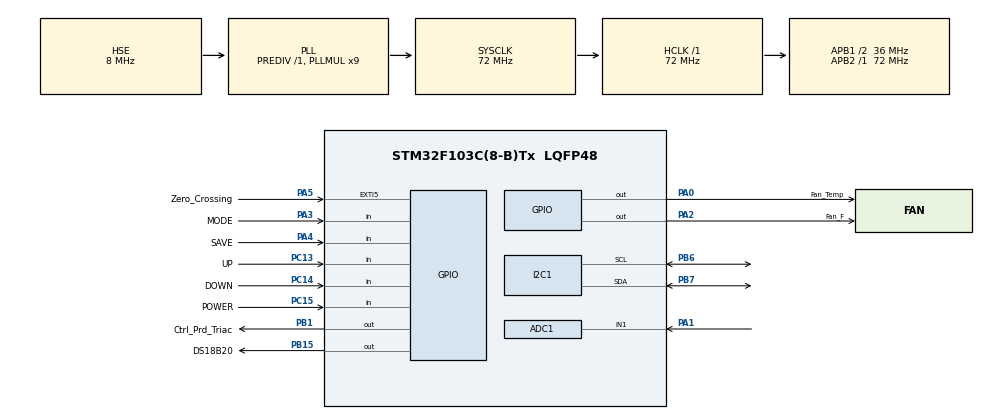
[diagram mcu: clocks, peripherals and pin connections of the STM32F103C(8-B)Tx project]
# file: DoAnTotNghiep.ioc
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ADC1.Channel-5\#ChannelRegularConversion=ADC_CHANNEL_1
ADC1.ContinuousConvMode=ENABLE
ADC1.NbrOfConversionFlag=1
ADC1.Rank-5\#ChannelRegularConversion=1
ADC1.SamplingTime-5\#ChannelRegularConversion=ADC_SAMPLETIME_239CYCLES_5
ADC1.master=1
Mcu.Family=STM32F1
Mcu.Name=STM32F103C(8-B)Tx
Mcu.Package=LQFP48
NVIC.EXTI9_5_IRQn=true\:5\:0\:true\:false\:true\:true\:true
NVIC.PriorityGroup=NVIC_PRIORITYGROUP_4
NVIC.TIM4_IRQn=true\:3\:0\:true\:false\:true\:true\:true
PA0-WKUP.GPIO_Label=Fan_Temp
PA0-WKUP.Signal=GPIO_Output
PA1.Signal=ADCx_IN1
PA13.Mode=Serial_Wire
PA13.Signal=SYS_JTMS-SWDIO
PA14.Mode=Serial_Wire
PA14.Signal=SYS_JTCK-SWCLK
PA2.GPIO_Label=Fan_F
PA2.Signal=GPIO_Output
PA3.GPIO_Label=MODE
PA3.GPIO_PuPd=GPIO_PULLUP
PA3.Signal=GPIO_Input
PA4.GPIO_Label=SAVE
PA4.GPIO_Mode=GPIO_MODE_INPUT
PA4.GPIO_PuPd=GPIO_PULLUP
PA4.Signal=GPIO_Input
PA5.GPIO_Label=Zero_Crossing
PA5.GPIO_ModeDefaultEXTI=GPIO_MODE_IT_FALLING
PA5.GPIO_PuPd=GPIO_PULLUP
PA5.Signal=GPXTI5
PB1.GPIO_Label=Ctrl_Prd_Triac
PB1.Signal=GPIO_Output
PB15.GPIO_Label=DS18B20
PB15.Signal=GPIO_Output
PB6.Mode=I2C
PB6.Signal=I2C1_SCL
PB7.Mode=I2C
PB7.Signal=I2C1_SDA
PC13-TAMPER-RTC.GPIO_Label=UP
PC13-TAMPER-RTC.GPIO_PuPd=GPIO_PULLUP
PC13-TAMPER-RTC.Signal=GPIO_Input
PC14-OSC32_IN.GPIO_Label=DOWN
PC14-OSC32_IN.GPIO_PuPd=GPIO_PULLUP
PC14-OSC32_IN.Signal=GPIO_Input
PC15-OSC32_OUT.GPIO_Label=POWER
PC15-OSC32_OUT.GPIO_Mode=GPIO_MODE_INPUT
PC15-OSC32_OUT.GPIO_PuPd=GPIO_PULLUP
PC15-OSC32_OUT.Signal=GPIO_Input
PD0-OSC_IN.Mode=HSE-External-Oscillator
PD0-OSC_IN.Signal=RCC_OSC_IN
PD1-OSC_OUT.Mode=HSE-External-Oscillator
PD1-OSC_OUT.Signal=RCC_OSC_OUT
ProjectManager.HeapSize=0x200
ProjectManager.StackSize=0x400
ProjectManager.TargetToolchain=MDK-ARM V5.27
RCC.ADCPresc=RCC_ADCPCLK2_DIV6
RCC.AHBFreq_Value=72000000
RCC.APB1CLKDivider=RCC_HCLK_DIV2
RCC.APB1Freq_Value=36000000
RCC.APB1TimFreq_Value=72000000
RCC.APB2Freq_Value=72000000
RCC.APB2TimFreq_Value=72000000
RCC.HCLKFreq_Value=72000000
RCC.PLLMUL=RCC_PLL_MUL9
RCC.PLLSourceVirtual=RCC_PLLSOURCE_HSE
RCC.SYSCLKFreq_VALUE=72000000
RCC.SYSCLKSource=RCC_SYSCLKSOURCE_PLLCLK
RCC.USBFreq_Value=72000000
SH.ADCx_IN1.0=ADC1_IN1,IN1
TIM3.Period=0xFFFF-1
TIM3.Prescaler=72-1
TIM4.Period=99
TIM4.Prescaler=36
VP_TIM3_VS_ClockSourceINT.Mode=Internal
VP_TIM4_VS_ClockSourceINT.Mode=Internal
board=custom

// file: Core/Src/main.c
/* USER CODE BEGIN Header */
/**
  ******************************************************************************
	*
  * @AUTHOR       :		Nguyen Trong Son
	* @CLASS        : 	69DCCN21
	* @ID           :   69DCCO20164
	* @University   :   University Of Transport Technology
	* @Title        :   Do An Tot Nghiep
	* @Topic        :   May say nong san on dinh nhiet do
	*
	* @File         :   main.c
  ******************************************************************************
  */
/* USER CODE END Header */
#include "main.h"

/* USER CODE BEGIN Includes */

#include "define.h"
#include "delay_timer.h"

/* USER CODE END Includes */

ADC_HandleTypeDef hadc1;

I2C_HandleTypeDef hi2c1;

TIM_HandleTypeDef htim3;
TIM_HandleTypeDef htim4;

void SystemClock_Config(void);
static void MX_GPIO_Init(void);
static void MX_TIM3_Init(void);
static void MX_I2C1_Init(void);
static void MX_ADC1_Init(void);
static void MX_TIM4_Init(void);

/* USER CODE BEGIN 0 */

static void Wellcome(void)
{
	CLCD_I2C_SetCursor(&LCD1,0,0);
	CLCD_I2C_WriteString(&LCD1, "DO AN TOT NGHIEP");
	HAL_Delay(1000);
	CLCD_I2C_Clear(&LCD1);
	CLCD_I2C_SetCursor(&LCD1,0,0);
	CLCD_I2C_WriteString(&LCD1, "LOADDING...");
	HAL_Delay(1000);
	CLCD_I2C_Clear(&LCD1);
}

// Hien thi thong so khi da cai xong kp ki kd
static void Display_Save_Parmeter(void)
{
	CLCD_I2C_SetCursor(&LCD1, 0, 0);
	CLCD_I2C_WriteString(&LCD1, "COPYRIGHT BY SON");
	CLCD_I2C_SetCursor(&LCD1, 0, 1);
	CLCD_I2C_WriteString(&LCD1, "NHAN NEXT =>...");
}

// Cai dat thong so Kp
static void Set_Kp(PID_CONTROL *PID1)
{
	if(HAL_GPIO_ReadPin(UP_GPIO_Port, UP_Pin) == 0)
	{
			cnt1++;
			if(cnt1 >= 10)
			{
				if(PID1->Kp < KP_MAX)
				{
					PID1->Kp += KP_UP;
				}
				else
				{
					PID1->Kp = KP_MAX;
				}
				cnt1 = 0;
			}
	}

	if(HAL_GPIO_ReadPin(DOWN_GPIO_Port, DOWN_Pin) == 0)
	{
			cnt1++;
			if(cnt1 >= 10)
			{
				if(PID1->Kp > KP_MIN)
				{
					PID1->Kp -= KP_DOWN;
				}
				else
				{
					PID1->Kp = KP_MIN;
				}
				cnt1 =0;
			}
	}
	Save_Data_Kp(ADDRESS_Kp, PID1->Kp);
}

// Cai Dat Thong So Ki
static  void Set_Ki(PID_CONTROL *PID1)
{
	if(HAL_GPIO_ReadPin(UP_GPIO_Port, UP_Pin) == 0)
	{
			cnt2++;
			if(cnt2>=10)
			{
				if(PID1->Ki < KI_MAX)
				{
					PID1->Ki += KI_UP;
				}
				else
				{
					PID1->Ki = KI_MAX;
				}
				cnt2 = 0;
			}
	}

	if(HAL_GPIO_ReadPin(DOWN_GPIO_Port, DOWN_Pin) == 0)
	{
			cnt2++;
			if(cnt2>=10)
			{
				if(PID1->Ki > KI_MIN)
				{
					PID1->Ki -= KI_DOWN;
				}
				else
				{
					PID1->Ki = KI_MIN;
				}
				cnt2 =0;
			}
	}
	Save_Data_Ki(ADDRESS_Ki, PID1->Ki);
}

// Cai Dat Thong So Kd
static  void Set_Kd(PID_CONTROL *PID1)
{
	if(HAL_GPIO_ReadPin(UP_GPIO_Port, UP_Pin) == 0)
	{
			cnt3++;
			if(cnt3 >= 10)
			{
				if(PID1->Kd < KD_MAX)
				{
					PID1->Kd += KD_UP;
				}
				else
				{
					PID1->Kd = KD_MAX;
				}
				cnt3 = 0;
			}
	}

	if(HAL_GPIO_ReadPin(DOWN_GPIO_Port, DOWN_Pin) == 0)
	{
			cnt3++;
			if(cnt3>=10)
			{
				if(PID1->Kd > KD_MIN)
				{
					PID1->Kd -= KD_DOWN;
				}
				else
				{
					PID1->Kd = KD_MIN;
				}
				cnt3 = 0;
			}
	}
	Save_Data_Kd(ADDRESS_Kd, PID1->Kd);
}

// Cai Dat nhiet do
static void ButtonSetTemperature(uint8_t *set_temp)
{
	// Tang Nhiet Do
	if(HAL_GPIO_ReadPin(UP_GPIO_Port, UP_Pin) == 0)
	{
			cnt4++;
			if(cnt4 >= 5)
			{
				if(*set_temp < TEMP_SET_MAX)
				{
					*set_temp += TEMP_UP;
				}
				else
				{
					*set_temp = TEMP_SET_MAX;
				}
				cnt4 = 0;
		  }
	}

	// Giam Nhiet Do
	if(HAL_GPIO_ReadPin(DOWN_GPIO_Port, DOWN_Pin) == 0)
	{
			cnt4++;
			if(cnt4 >= 5)
			{
				if(*set_temp > TEMP_SET_MIN)
				{
					*set_temp -= TEMP_DOWN;
				}
				else
				{
					*set_temp = TEMP_SET_MIN;
				}
				cnt4 = 0;
		  }
	}
	save_data_temp(Address,*set_temp);
}

// Luu nhiet do cai dat vao eeproom
int16_t save_data_temp(uint32_t add, int value)
{
	// Kiem tra cac bien, dia chi cua bien
	if((last_save_value != value)|| (last_add != add))
	{
			Flash_Erase(add);
			Flash_Write_Int(add, value);
			last_save_value = value;
			last_add = add;

			if(Flash_Read_Int(add) == value)
				return 1;
			else
				return 0;
	}
	return 0;
}

// Luu gia tri KP
static float Save_Data_Kp(uint32_t add_kp, float Kp)
{
	if((last_save_Kp != Kp) || (last_add_Kp != add_kp))
	{
		Flash_Erase(add_kp);
		Flash_Write_Float(add_kp, Kp);
		last_save_Kp = Kp;
		last_add_Kp = add_kp;

		if(Flash_Read_Float(add_kp) == Kp)
		{
			return 1;
		}
		else
		{
			return 0;
		}
	}
		return 0;
}

// Luu gia tri Ki
static float Save_Data_Ki(uint32_t add_ki, float Ki)
{
	if((last_save_Ki != Ki) || (last_add_Ki != add_ki))
	{
		Flash_Erase(add_ki);
		Flash_Write_Float(add_ki, Ki);
		last_save_Ki = Ki;
		last_add_Ki = add_ki;

		if(Flash_Read_Float(add_ki) == Ki)
		{
			return 1;
		}
		else
		{
			return 0;
		}
	}
	return 0;
}

// Luu Gia tri Kd
static float Save_Data_Kd(uint32_t add_kd, float Kd)
{
	if((last_save_Kd != Kd) || (last_add_Kd != add_kd))
	{
		Flash_Erase(add_kd);
		Flash_Write_Float(add_kd, Kd);
		last_save_Kd = Kd;
		last_add_Kd = add_kd;

		if(Flash_Read_Float(add_kd) == Kd)
		{
			return 1;
		}
		else
		{
			return 0;
		}
		return 0;
	}
}

// Hien thi thong so Kp
static void Display_Parameter_KP(PID_CONTROL *PID1)
{
		sprintf(data_Kp, "%.2f", PID1->Kp);
		CLCD_I2C_SetCursor(&LCD1, 0,0);
		CLCD_I2C_WriteString(&LCD1, "Cai Dat Kp");
		CLCD_I2C_SetCursor(&LCD1, 0, 1);
		CLCD_I2C_WriteString(&LCD1, data_Kp);
}

// Hien thi thong so Ki
static void Display_Parameter_Ki(PID_CONTROL *PID1)
{
		sprintf(data_Ki, "%.5f", PID1->Ki);
		CLCD_I2C_SetCursor(&LCD1, 0, 0);
		CLCD_I2C_WriteString(&LCD1, "Cai Dat Ki");
		CLCD_I2C_SetCursor(&LCD1, 0, 1);
	  CLCD_I2C_WriteString(&LCD1, data_Ki);
		CLCD_I2C_SetCursor(&LCD1, 7, 1);
		CLCD_I2C_WriteChar(&LCD1, ' ');
}

// Hien thi thong Kd
static void Display_Parameter_Kd(PID_CONTROL *PID1)
{
		sprintf(data_Kd, "%.4f", PID1->Kd);
		CLCD_I2C_SetCursor(&LCD1, 0, 0);
		CLCD_I2C_WriteString(&LCD1, "Cai Dat Kd");
		CLCD_I2C_SetCursor(&LCD1, 0, 1);
		CLCD_I2C_WriteString(&LCD1, data_Kd);
}

// Hien thi nhiet do cai dat
static void Display_SetUp_Temp(uint8_t *temp)
{
		if(*temp<=99)
		{
			sprintf(data_temp, "%d", *temp);
			CLCD_I2C_SetCursor(&LCD1, 0,0);
			CLCD_I2C_WriteString(&LCD1, "Cai Dat Nhiet Do");
			CLCD_I2C_SetCursor(&LCD1, 0,1);
			CLCD_I2C_WriteString(&LCD1, data_temp);
			CLCD_I2C_SetCursor(&LCD1, 2,0);
			CLCD_I2C_WriteChar(&LCD1, 0xDF);
			CLCD_I2C_SetCursor(&LCD1, 3,0);
			CLCD_I2C_WriteChar(&LCD1, 'C');
			CLCD_I2C_SetCursor(&LCD1, 4,0);
			CLCD_I2C_WriteChar(&LCD1, ' ');
		}

		// Hien thi nhiet do lon hon 100
		if(*temp>=100)
		{
			sprintf(data_temp, "%d", *temp);
			CLCD_I2C_SetCursor(&LCD1, 0,0);
			CLCD_I2C_WriteString(&LCD1, "Cai Dat Nhiet Do");
			CLCD_I2C_SetCursor(&LCD1, 0,0);
			CLCD_I2C_WriteString(&LCD1, data_temp);
			CLCD_I2C_SetCursor(&LCD1, 3,0);
			CLCD_I2C_WriteChar(&LCD1, 0xDF);
			CLCD_I2C_SetCursor(&LCD1, 4,0);
			CLCD_I2C_WriteChar(&LCD1, 'C');
		}

}

// Hien thi nhiet do
static void Display_LCD_Temp(float *temp)
{
		if(*temp<=99)
		{
			sprintf(data_temp, "%0.0f", *temp);
			CLCD_I2C_SetCursor(&LCD1, 0,0);
			CLCD_I2C_WriteString(&LCD1, "T:");
			CLCD_I2C_SetCursor(&LCD1, 2,0);
			CLCD_I2C_WriteString(&LCD1, data_temp);
			CLCD_I2C_SetCursor(&LCD1, 4,0);
			CLCD_I2C_WriteChar(&LCD1, 0xDF);
			CLCD_I2C_SetCursor(&LCD1, 5,0);
			CLCD_I2C_WriteChar(&LCD1, 'C');
			CLCD_I2C_SetCursor(&LCD1, 6,0);
			CLCD_I2C_WriteChar(&LCD1, ' ');
		}

		// Hien thi nhiet do lon hon 100
		if(*temp>=100)
		{
			sprintf(data_temp, "%0.0f", *temp);
			CLCD_I2C_SetCursor(&LCD1, 0,0);
			CLCD_I2C_WriteString(&LCD1, "T:");
			CLCD_I2C_SetCursor(&LCD1, 2,0);
			CLCD_I2C_WriteString(&LCD1, data_temp);
			CLCD_I2C_SetCursor(&LCD1, 5,0);
			CLCD_I2C_WriteChar(&LCD1, 0xDF);
			CLCD_I2C_SetCursor(&LCD1, 6,0);
			CLCD_I2C_WriteChar(&LCD1, 'C');
		}

}

// Hien thi nhiet do
static void Display_LCD_Set_Temp(uint8_t *set_temp)
{
		// Hien thi nhiet do cai dat be hon 100
		if(*set_temp <= 99)
		{
			sprintf(data_temp_set, "%d", *set_temp);
			CLCD_I2C_SetCursor(&LCD1, 0,1);
			CLCD_I2C_WriteString(&LCD1,  "ST:");
			CLCD_I2C_SetCursor(&LCD1, 3,1);
			CLCD_I2C_WriteString(&LCD1, data_temp_set);
			CLCD_I2C_SetCursor(&LCD1, 5,1);
			CLCD_I2C_WriteChar(&LCD1, 0xDF);
			CLCD_I2C_SetCursor(&LCD1, 6,1);
			CLCD_I2C_WriteChar(&LCD1, 'C');
			CLCD_I2C_SetCursor(&LCD1, 7,1);
			CLCD_I2C_WriteChar(&LCD1, ' ');
		}

		// Hien thi nhiet do lon hon 100
		if(*set_temp>=100)
		{
			sprintf(data_temp_set, "%d", *set_temp);
			CLCD_I2C_SetCursor(&LCD1, 0,1);
			CLCD_I2C_WriteString(&LCD1, "ST:");
			CLCD_I2C_WriteChar(&LCD1, ' ');
			CLCD_I2C_SetCursor(&LCD1, 3,1);
			CLCD_I2C_WriteString(&LCD1, data_temp_set);
			CLCD_I2C_SetCursor(&LCD1, 6,1);
			CLCD_I2C_WriteChar(&LCD1, 0xDF);
			CLCD_I2C_SetCursor(&LCD1, 7,1);
			CLCD_I2C_WriteChar(&LCD1, 'C');
		}
}

static void Display_Run(PID_CONTROL *PID1)
{
	  if((uint16_t)PID1->OutPut >= 1000)
		{
			sprintf(data_pid_out, "%d", (uint16_t)PID1->OutPut);
			CLCD_I2C_SetCursor(&LCD1,8, 0);
			CLCD_I2C_WriteString(&LCD1, "PID:");
			CLCD_I2C_SetCursor(&LCD1,12, 0);
			CLCD_I2C_WriteString(&LCD1, data_pid_out);
		}

		if((uint16_t)PID1->OutPut <= 999)
		{
			sprintf(data_pid_out, "%d", (uint16_t)PID1->OutPut);
			CLCD_I2C_SetCursor(&LCD1,8, 0);
			CLCD_I2C_WriteString(&LCD1, "PID:");
			CLCD_I2C_SetCursor(&LCD1,12, 0);
			CLCD_I2C_WriteString(&LCD1, data_pid_out);
			CLCD_I2C_SetCursor(&LCD1,15, 0);
			CLCD_I2C_WriteChar(&LCD1, ' ');
		}

		if((uint16_t)PID1->OutPut <= 99)
		{
			sprintf(data_pid_out, "%d", (uint16_t)PID1->OutPut);
			CLCD_I2C_SetCursor(&LCD1,8, 0);
			CLCD_I2C_WriteString(&LCD1, "PID:");
			CLCD_I2C_SetCursor(&LCD1,12, 0);
			CLCD_I2C_WriteString(&LCD1, data_pid_out);
			CLCD_I2C_SetCursor(&LCD1,14, 0);
			CLCD_I2C_WriteChar(&LCD1, ' ');
			CLCD_I2C_SetCursor(&LCD1,15, 0);
			CLCD_I2C_WriteChar(&LCD1, ' ');
		}

		if((uint16_t)PID1->OutPut <= 9)
		{
			sprintf(data_pid_out, "%d", (uint16_t)PID1->OutPut);
			CLCD_I2C_SetCursor(&LCD1,8, 0);
			CLCD_I2C_WriteString(&LCD1, "PID:");
			CLCD_I2C_SetCursor(&LCD1,12, 0);
			CLCD_I2C_WriteString(&LCD1, data_pid_out);
			CLCD_I2C_SetCursor(&LCD1,13, 0);
			CLCD_I2C_WriteChar(&LCD1, ' ');
			CLCD_I2C_SetCursor(&LCD1,14, 0);
			CLCD_I2C_WriteChar(&LCD1, ' ');
			CLCD_I2C_SetCursor(&LCD1,15, 0);
			CLCD_I2C_WriteChar(&LCD1, ' ');
		}
	  sprintf(data_duty, "%.2f", VAC_OUT_MAX * (PID1->OutPut / 165));
	  CLCD_I2C_SetCursor(&LCD1, 8,1);
		CLCD_I2C_WriteString(&LCD1, "V:");
		CLCD_I2C_SetCursor(&LCD1, 10,1);
		CLCD_I2C_WriteString(&LCD1, data_duty);
}

// Kiem tra ket qua bo PID voi chu ky 1000ms
static void PID_Reload_Result(PID_CONTROL *PID1, uint8_t *set_temp, float *temp_sensor)
{
				currentMillis = HAL_GetTick();

				if(currentMillis - previousMillis >= INV_SAMPLING_TIME_PID)
				{
						previousMillis += INV_SAMPLING_TIME_PID;

					 *temp_sensor = DS18B20_ReadTemp(&DS1);

						PID1->Err_now = (float)(*set_temp - *temp_sensor);

						if(PID1->Err_now > 20)
						{
								PID1->iPart = 0;
						}

						PID1->pPart = PID1->Kp * PID1->Err_now;

						PID1->iPart += PID1->Ki * PID1->Err_now;

						if(PID1->iPart > PI_OUTPUT_MAX)
						{
							PID1->iPart = PI_OUTPUT_MAX;
						}

						if(PID1->iPart < PI_OUTPUT_MIN)
						{
							PID1->iPart = PI_OUTPUT_MIN;
						}

						timePrev = time;
						time = HAL_GetTick();
						elapsedTime = (time - timePrev) / 1000;

						PID1->dPart = PID1->Kd * ((PID1->Err_now - PID1->Err_last) / elapsedTime);

		//				PID1->dPart = PID1->Kd * ((float)(PID1->Err_now - PID1->Err_last) / SAMPLING_TIME);

						PID1->OutPut = PID1->pPart + PID1->iPart + PID1->dPart;

						if(PID1->OutPut > PID_OUTPUT_MAX)
						{
							PID1->OutPut = PID_OUTPUT_MAX;
						}

						if(PID1->OutPut < PID_OUTPUT_MIN)
						{
							PID1->OutPut = PID_OUTPUT_MIN;
						}

						PID1->Err_last = PID1->Err_now;
			}
}

// Che do cai dat Kp, Ki, Kd
static void Set_Parmeter(FLAG_NAME *flag, PID_CONTROL *PID1, uint8_t *set_temp)
{
	if(flag->flag_7 == 0)
	{
		if(HAL_GPIO_ReadPin(MODE_GPIO_Port, MODE_Pin) == 0)
		{
				CLCD_I2C_Clear(&LCD1);
				if(mode1 < 3) mode1++;
				else mode1 = 0;
				while(HAL_GPIO_ReadPin(MODE_GPIO_Port, MODE_Pin) == 0);
		}
		if(mode1 == 0)
		{
			Display_Parameter_KP(PID1);
			Set_Kp(PID1);
		}
		else if(mode1 == 1)
		{
			Display_Parameter_Ki(PID1);
			Set_Ki(PID1);
		}
		else if(mode1 == 2)
		{
			Display_Parameter_Kd(PID1);
			Set_Kd(PID1);
		}
		else if(mode1 == 3)
		{
			Display_SetUp_Temp(set_temp);
			ButtonSetTemperature(set_temp);
		}
	}
}

// Chay che do hien hanh
static void Save_Prameter(PID_CONTROL *PID1, FLAG_NAME *flag, uint8_t *set_temp, float *temp_sensor, float *temp_f)
{
	if(HAL_GPIO_ReadPin(POWER_GPIO_Port, POWER_Pin) == 0)
	{
//		HAL_Delay(10);
		if(HAL_GPIO_ReadPin(POWER_GPIO_Port, POWER_Pin) == 0)
		{
			CLCD_I2C_Clear(&LCD1);
			mode2++;
			while(HAL_GPIO_ReadPin(POWER_GPIO_Port, POWER_Pin) == 0);
		}
	}
	if(mode2 == 1)
	{
		  flag->flag_7 = 1;
			PID_Reload_Result(PID1, set_temp, temp_sensor);
			Display_LCD_Temp(temp_sensor);
			Display_LCD_Set_Temp(set_temp);
			Display_Run(PID1);
	}
	else if(mode2 == 2)
	{
		if(PID1->OutPut > 0)
		{
			PID1->OutPut = PID_OUTPUT_MAX;
		}

		if(PID1->OutPut < 0)
		{
			PID1->OutPut = PID_OUTPUT_MIN;
		}

		flag->flag_7 = 0;
		mode2 = 0;
		mode1 = 0;
	}
}

// Save Kp, Ki, Kd, EEPROM
static void Save_KP_KI_KD_To_EEPROM(PID_CONTROL *PID1)
{
	if(HAL_GPIO_ReadPin(SAVE_GPIO_Port, SAVE_Pin) == 0)
	{
		Save_Data_Kp(ADDRESS_Kp, PID1->Kp);
		Save_Data_Kp(ADDRESS_Ki, PID1->Ki);
		Save_Data_Kp(ADDRESS_Kd, PID1->Kd);
		while(HAL_GPIO_ReadPin(SAVE_GPIO_Port, SAVE_Pin) == 0);
	}

}

// Doc nhiet do cam bien nhiet do
static void Temp_LM35(void)
{
//	ADC1_CH1_Value = HAL_ADC_GetValue(&hadc1);
	temp_f = (ADC1_CH1_Value * VREF * 100.0f) / ADC_12BIT_VALUE;
	if(temp_f > TEMP_MAX_START_FAN_F)
	{
		HAL_GPIO_WritePin(Fan_F_GPIO_Port, Fan_F_Pin, GPIO_PIN_SET);
	}
	else
	{
		HAL_GPIO_WritePin(Fan_F_GPIO_Port, Fan_F_Pin, GPIO_PIN_RESET);
	}
}

// kiem tra quat lo say
static void Check_Fan_Temp(float *temp_sensor)
{
	if(*temp_sensor >= TEMP_MAX_START_FAN)
	{
		 HAL_GPIO_WritePin(Fan_Temp_GPIO_Port, Fan_Temp_Pin, GPIO_PIN_SET);
	}
	else
	{
		 HAL_GPIO_WritePin(Fan_Temp_GPIO_Port, Fan_Temp_Pin, GPIO_PIN_RESET);
	}
}

/* USER CODE END 0 */

int main(void)
{

  /* MCU Configuration--------------------------------------------------------*/

  /* Reset of all peripherals, Initializes the Flash interface and the Systick. */
  HAL_Init();

  /* Configure the system clock */
  SystemClock_Config();

  /* Initialize all configured peripherals */
  MX_GPIO_Init();
  MX_TIM3_Init();
  MX_I2C1_Init();
  MX_ADC1_Init();
  MX_TIM4_Init();
  /* USER CODE BEGIN 2 */
  DS18B20_Init(&DS1, &htim3, DS18B20_GPIO_Port, DS18B20_Pin);
	CLCD_I2C_Init(&LCD1, &hi2c1, 0x4e, 20, 4);
	HAL_ADC_Start(&hadc1);
	Set_Temp = Flash_Read_Int(Address);     										// Doc tu EEPROM
	PID1.Kp = Flash_Read_Float(ADDRESS_Kp);
	PID1.Ki = Flash_Read_Float(ADDRESS_Ki);
	PID1.Kd = Flash_Read_Float(ADDRESS_Kd);
//  currentMillis = HAL_GetTick();
//  previousMillis = HAL_GetTick();
	Wellcome();
  /* USER CODE END 2 */

  /* Infinite loop */
  while (1)
  {

    /* USER CODE BEGIN 3 */
//		currentMillis = HAL_GetTick();
////    if(currentMillis - previousMillis >= INV_SAMPLING_TIME_PID)
////		if(HAL_GetTick() - previousMillis >= INV_SAMPLING_TIME_PID)
//	if(currentMillis - previousMillis >= INV_SAMPLING_TIME_PID)
//		{
//			previousMillis += INV_SAMPLING_TIME_PID;
//			PID_Reload_Result(&PID1, &Set_Temp, &temperature);
////			previousMillis = HAL_GetTick();
//		}
		Check_Fan_Temp(&temperature);
		Set_Parmeter(&flag, &PID1, &Set_Temp);
		Save_Prameter(&PID1,&flag, &Set_Temp, &temperature, &temp_f);
		ADC1_CH1_Value = HAL_ADC_GetValue(&hadc1);
		Temp_LM35();
	}
  /* USER CODE END 3 */
}

void HAL_TIM_PeriodElapsedCallback(TIM_HandleTypeDef *htim)
{

	// Timer4 interrupt  = 100us
	// T 220VAC = 20ms => T/2 = 10ms => thoi gian kich mo triac nam trong khoang tu 0->T/2
	// => Cnt_Prd_Ctl_Triac++ == 10000us = 10ms
	if(htim->Instance == htim4.Instance)
	{
		Cnt_Prd_Ctl_Triac++;
		if(Cnt_Prd_Ctl_Triac == (uint16_t)(COUNT_PERIOD_MAX - PID1.OutPut))
		{
			HAL_GPIO_WritePin(Ctrl_Prd_Triac_GPIO_Port, Ctrl_Prd_Triac_Pin, GPIO_PIN_SET);
		}
		else if(Cnt_Prd_Ctl_Triac == COUNT_PERIOD_MAX)
		{
			HAL_GPIO_WritePin(Ctrl_Prd_Triac_GPIO_Port, Ctrl_Prd_Triac_Pin, GPIO_PIN_RESET);
			Cnt_Prd_Ctl_Triac = 0;
			HAL_TIM_Base_Stop_IT(&htim4);
			__HAL_TIM_SetCounter(&htim4, 0);
		}

	}
}

void HAL_GPIO_EXTI_Callback(uint16_t GPIO_Pin)
{
	if(GPIO_Pin == Zero_Crossing_Pin)
	{
//		HAL_GPIO_WritePin(Fan_Temp_GPIO_Port, Fan_Temp_Pin, GPIO_PIN_SET);
		HAL_GPIO_WritePin(Ctrl_Prd_Triac_GPIO_Port, Ctrl_Prd_Triac_Pin, GPIO_PIN_RESET);
		HAL_TIM_Base_Start_IT(&htim4);
	}
}

void SystemClock_Config(void)
{
  RCC_OscInitTypeDef RCC_OscInitStruct = {0};
  RCC_ClkInitTypeDef RCC_ClkInitStruct = {0};
  RCC_PeriphCLKInitTypeDef PeriphClkInit = {0};

  /** Initializes the RCC Oscillators according to the specified parameters
  * in the RCC_OscInitTypeDef structure.
  */
  RCC_OscInitStruct.OscillatorType = RCC_OSCILLATORTYPE_HSE;
  RCC_OscInitStruct.HSEState = RCC_HSE_ON;
  RCC_OscInitStruct.HSEPredivValue = RCC_HSE_PREDIV_DIV1;
  RCC_OscInitStruct.HSIState = RCC_HSI_ON;
  RCC_OscInitStruct.PLL.PLLState = RCC_PLL_ON;
  RCC_OscInitStruct.PLL.PLLSource = RCC_PLLSOURCE_HSE;
  RCC_OscInitStruct.PLL.PLLMUL = RCC_PLL_MUL9;
  if (HAL_RCC_OscConfig(&RCC_OscInitStruct) != HAL_OK)
  {
    Error_Handler();
  }
  /** Initializes the CPU, AHB and APB buses clocks
  */
  RCC_ClkInitStruct.ClockType = RCC_CLOCKTYPE_HCLK|RCC_CLOCKTYPE_SYSCLK
                              |RCC_CLOCKTYPE_PCLK1|RCC_CLOCKTYPE_PCLK2;
  RCC_ClkInitStruct.SYSCLKSource = RCC_SYSCLKSOURCE_PLLCLK;
  RCC_ClkInitStruct.AHBCLKDivider = RCC_SYSCLK_DIV1;
  RCC_ClkInitStruct.APB1CLKDivider = RCC_HCLK_DIV2;
  RCC_ClkInitStruct.APB2CLKDivider = RCC_HCLK_DIV1;

  if (HAL_RCC_ClockConfig(&RCC_ClkInitStruct, FLASH_LATENCY_2) != HAL_OK)
  {
    Error_Handler();
  }
  PeriphClkInit.PeriphClockSelection = RCC_PERIPHCLK_ADC;
  PeriphClkInit.AdcClockSelection = RCC_ADCPCLK2_DIV6;
  if (HAL_RCCEx_PeriphCLKConfig(&PeriphClkInit) != HAL_OK)
  {
    Error_Handler();
  }
}

static void MX_ADC1_Init(void)
{

  ADC_ChannelConfTypeDef sConfig = {0};

  /** Common config
  */
  hadc1.Instance = ADC1;
  hadc1.Init.ScanConvMode = ADC_SCAN_DISABLE;
  hadc1.Init.ContinuousConvMode = ENABLE;
  hadc1.Init.DiscontinuousConvMode = DISABLE;
  hadc1.Init.ExternalTrigConv = ADC_SOFTWARE_START;
  hadc1.Init.DataAlign = ADC_DATAALIGN_RIGHT;
  hadc1.Init.NbrOfConversion = 1;
  if (HAL_ADC_Init(&hadc1) != HAL_OK)
  {
    Error_Handler();
  }
  /** Configure Regular Channel
  */
  sConfig.Channel = ADC_CHANNEL_1;
  sConfig.Rank = ADC_REGULAR_RANK_1;
  sConfig.SamplingTime = ADC_SAMPLETIME_239CYCLES_5;
  if (HAL_ADC_ConfigChannel(&hadc1, &sConfig) != HAL_OK)
  {
    Error_Handler();
  }

}

static void MX_I2C1_Init(void)
{

  hi2c1.Instance = I2C1;
  hi2c1.Init.ClockSpeed = 100000;
  hi2c1.Init.DutyCycle = I2C_DUTYCYCLE_2;
  hi2c1.Init.OwnAddress1 = 0;
  hi2c1.Init.AddressingMode = I2C_ADDRESSINGMODE_7BIT;
  hi2c1.Init.DualAddressMode = I2C_DUALADDRESS_DISABLE;
  hi2c1.Init.OwnAddress2 = 0;
  hi2c1.Init.GeneralCallMode = I2C_GENERALCALL_DISABLE;
  hi2c1.Init.NoStretchMode = I2C_NOSTRETCH_DISABLE;
  if (HAL_I2C_Init(&hi2c1) != HAL_OK)
  {
    Error_Handler();
  }

}

static void MX_TIM3_Init(void)
{

  TIM_ClockConfigTypeDef sClockSourceConfig = {0};
  TIM_MasterConfigTypeDef sMasterConfig = {0};

  htim3.Instance = TIM3;
  htim3.Init.Prescaler = 72-1;
  htim3.Init.CounterMode = TIM_COUNTERMODE_UP;
  htim3.Init.Period = 0xFFFF-1;
  htim3.Init.ClockDivision = TIM_CLOCKDIVISION_DIV1;
  htim3.Init.AutoReloadPreload = TIM_AUTORELOAD_PRELOAD_DISABLE;
  if (HAL_TIM_Base_Init(&htim3) != HAL_OK)
  {
    Error_Handler();
  }
  sClockSourceConfig.ClockSource = TIM_CLOCKSOURCE_INTERNAL;
  if (HAL_TIM_ConfigClockSource(&htim3, &sClockSourceConfig) != HAL_OK)
  {
    Error_Handler();
  }
  sMasterConfig.MasterOutputTrigger = TIM_TRGO_RESET;
  sMasterConfig.MasterSlaveMode = TIM_MASTERSLAVEMODE_DISABLE;
  if (HAL_TIMEx_MasterConfigSynchronization(&htim3, &sMasterConfig) != HAL_OK)
  {
    Error_Handler();
  }

}

static void MX_TIM4_Init(void)
{

  TIM_ClockConfigTypeDef sClockSourceConfig = {0};
  TIM_MasterConfigTypeDef sMasterConfig = {0};

  htim4.Instance = TIM4;
  htim4.Init.Prescaler = 36;
  htim4.Init.CounterMode = TIM_COUNTERMODE_UP;
  htim4.Init.Period = 99;
  htim4.Init.ClockDivision = TIM_CLOCKDIVISION_DIV1;
  htim4.Init.AutoReloadPreload = TIM_AUTORELOAD_PRELOAD_DISABLE;
  if (HAL_TIM_Base_Init(&htim4) != HAL_OK)
  {
    Error_Handler();
  }
  sClockSourceConfig.ClockSource = TIM_CLOCKSOURCE_INTERNAL;
  if (HAL_TIM_ConfigClockSource(&htim4, &sClockSourceConfig) != HAL_OK)
  {
    Error_Handler();
  }
  sMasterConfig.MasterOutputTrigger = TIM_TRGO_RESET;
  sMasterConfig.MasterSlaveMode = TIM_MASTERSLAVEMODE_DISABLE;
  if (HAL_TIMEx_MasterConfigSynchronization(&htim4, &sMasterConfig) != HAL_OK)
  {
    Error_Handler();
  }

}

static void MX_GPIO_Init(void)
{
  GPIO_InitTypeDef GPIO_InitStruct = {0};

  /* GPIO Ports Clock Enable */
  __HAL_RCC_GPIOC_CLK_ENABLE();
  __HAL_RCC_GPIOD_CLK_ENABLE();
  __HAL_RCC_GPIOA_CLK_ENABLE();
  __HAL_RCC_GPIOB_CLK_ENABLE();

  /*Configure GPIO pin Output Level */
  HAL_GPIO_WritePin(GPIOA, Fan_Temp_Pin|Fan_F_Pin, GPIO_PIN_RESET);

  /*Configure GPIO pin Output Level */
  HAL_GPIO_WritePin(GPIOB, Ctrl_Prd_Triac_Pin|DS18B20_Pin, GPIO_PIN_RESET);

  /*Configure GPIO pins : UP_Pin DOWN_Pin POWER_Pin */
  GPIO_InitStruct.Pin = UP_Pin|DOWN_Pin|POWER_Pin;
  GPIO_InitStruct.Mode = GPIO_MODE_INPUT;
  GPIO_InitStruct.Pull = GPIO_PULLUP;
  HAL_GPIO_Init(GPIOC, &GPIO_InitStruct);

  /*Configure GPIO pins : Fan_Temp_Pin Fan_F_Pin */
  GPIO_InitStruct.Pin = Fan_Temp_Pin|Fan_F_Pin;
  GPIO_InitStruct.Mode = GPIO_MODE_OUTPUT_PP;
  GPIO_InitStruct.Pull = GPIO_NOPULL;
  GPIO_InitStruct.Speed = GPIO_SPEED_FREQ_LOW;
  HAL_GPIO_Init(GPIOA, &GPIO_InitStruct);

  /*Configure GPIO pins : MODE_Pin SAVE_Pin */
  GPIO_InitStruct.Pin = MODE_Pin|SAVE_Pin;
  GPIO_InitStruct.Mode = GPIO_MODE_INPUT;
  GPIO_InitStruct.Pull = GPIO_PULLUP;
  HAL_GPIO_Init(GPIOA, &GPIO_InitStruct);

  /*Configure GPIO pin : Zero_Crossing_Pin */
  GPIO_InitStruct.Pin = Zero_Crossing_Pin;
  GPIO_InitStruct.Mode = GPIO_MODE_IT_FALLING;
  GPIO_InitStruct.Pull = GPIO_PULLUP;
  HAL_GPIO_Init(Zero_Crossing_GPIO_Port, &GPIO_InitStruct);

  /*Configure GPIO pins : Ctrl_Prd_Triac_Pin DS18B20_Pin */
  GPIO_InitStruct.Pin = Ctrl_Prd_Triac_Pin|DS18B20_Pin;
  GPIO_InitStruct.Mode = GPIO_MODE_OUTPUT_PP;
  GPIO_InitStruct.Pull = GPIO_NOPULL;
  GPIO_InitStruct.Speed = GPIO_SPEED_FREQ_LOW;
  HAL_GPIO_Init(GPIOB, &GPIO_InitStruct);

  /* EXTI interrupt init*/
  HAL_NVIC_SetPriority(EXTI9_5_IRQn, 5, 0);
  HAL_NVIC_EnableIRQ(EXTI9_5_IRQn);

}

void Error_Handler(void)
{
}
